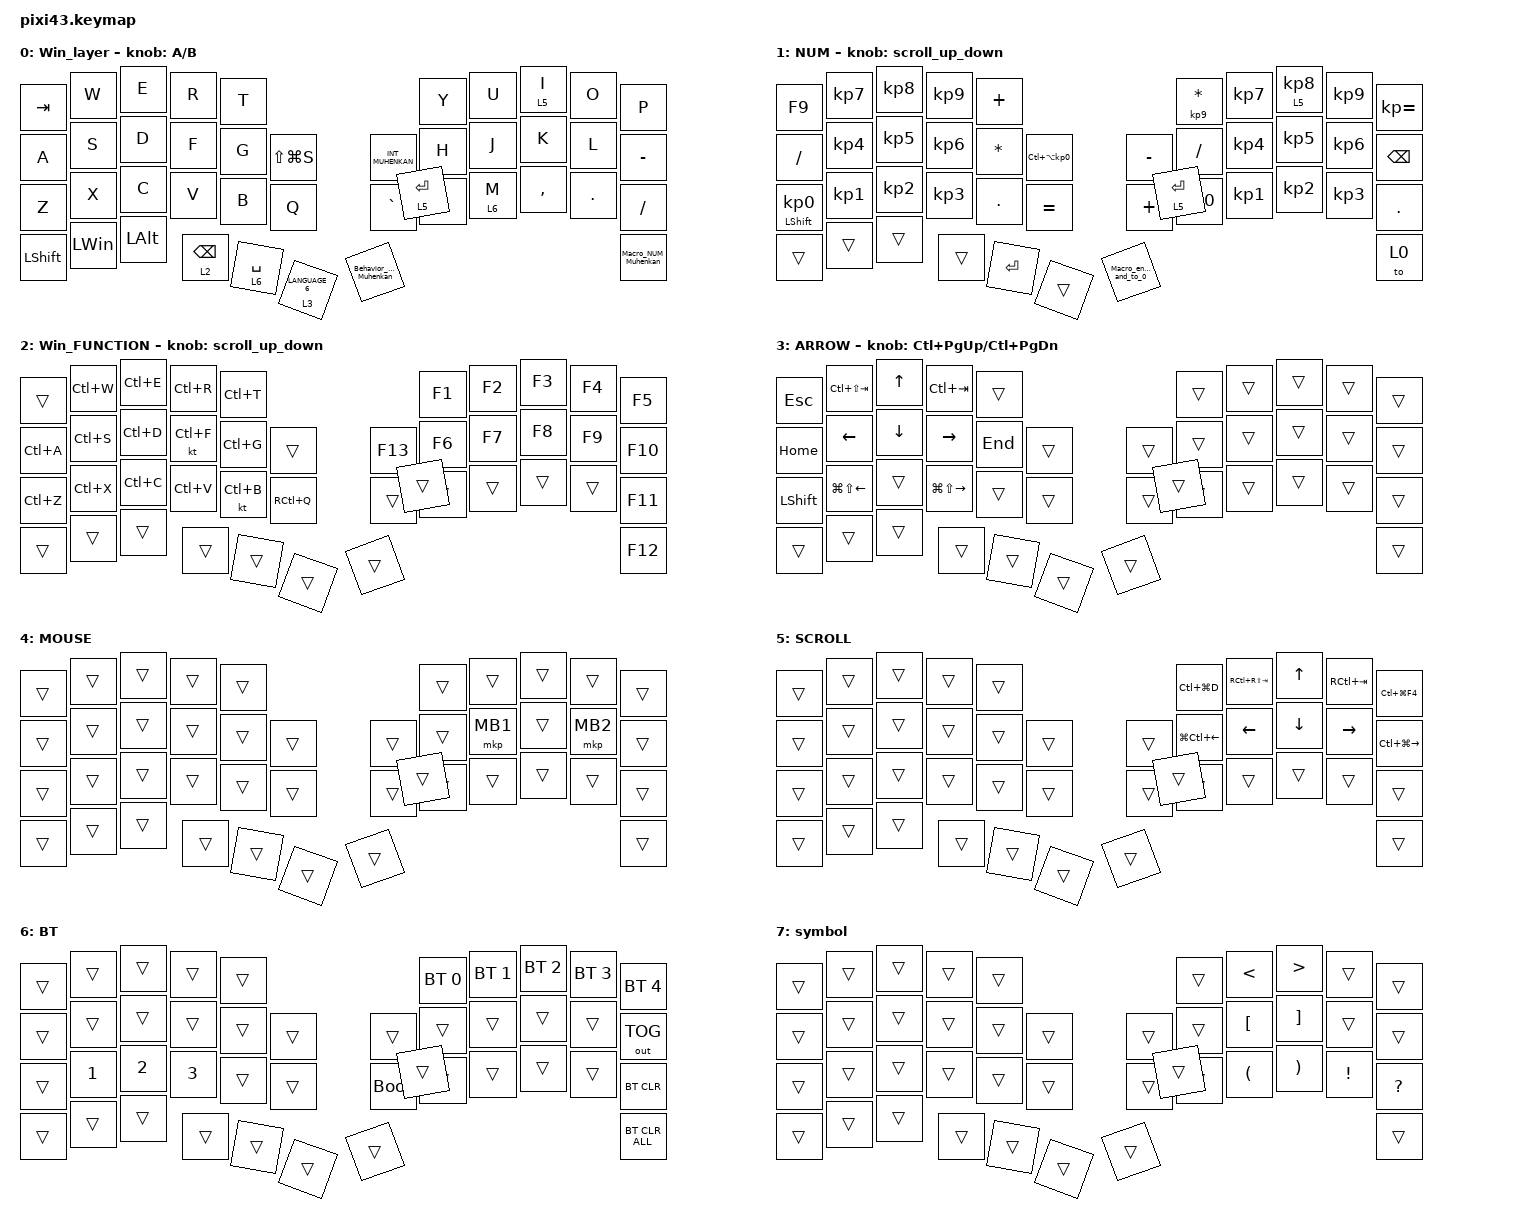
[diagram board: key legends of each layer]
#include <behaviors.dtsi>
#include <dt-bindings/zmk/bt.h>
#include <dt-bindings/zmk/keys.h>
#include <dt-bindings/zmk/outputs.h>
#include <dt-bindings/zmk/pointing.h>

&mt {
    flavor = "balanced";
    quick-tap-ms = <0>;
};

&trackball {
    automouse-layer = <4>;
    scroll-layers = <5>;
};

/ {
    combos {
        compatible = "zmk,combos";

        tab {
            bindings = <&kp TAB>;
            key-positions = <11 12>;
        };

        shift_tab {
            bindings = <&kp LS(TAB)>;
            key-positions = <12 13>;
        };

        muhennkann {
            bindings = <&Macro_to_layer_0>;
            key-positions = <0 1>;
        };

        double_quotation {
            bindings = <&kp DOUBLE_QUOTES>;
            key-positions = <20 21>;
        };

        eq {
            bindings = <&kp EQUAL>;
            key-positions = <8 9>;
        };
    };

    macros {
        Macro_to_layer_0: to_layer_0 {
            compatible = "zmk,behavior-macro";
            #binding-cells = <0>;
            bindings = <&to 0 &kp INT_MUHENKAN>;
            label = "TO_LAYER_0";
        };

        Macro_enter_and_to_0: num_to_enter {
            compatible = "zmk,behavior-macro";
            #binding-cells = <0>;
            bindings = <&kp ENTER &to 0 &kp INTERNATIONAL_4>;
            label = "NUM_TO_ENTER";
        };

        Macro_Win_layer_Henkan: Win_layer_Hiragana {
            compatible = "zmk,behavior-macro";
            #binding-cells = <0>;
            bindings = <&to 0 &kp INT_HENKAN>;
            label = "WIN_LAYER_HIRAGANA";
        };

        Macro_Win_layer_Muhenkan: Macro_Win_layer_Muhenkan {
            compatible = "zmk,behavior-macro";
            #binding-cells = <0>;
            bindings = <&to 0 &kp INT_MUHENKAN>;
            label = "MACRO_WIN_LAYER_MUHENKAN";
        };

        Macro_NUM_Muhenkan: NUM_Muhenkan {
            compatible = "zmk,behavior-macro";
            #binding-cells = <0>;
            bindings = <&to 1 &kp INT_MUHENKAN>;
            label = "NUM_MUHENKAN";
        };
    };

    behaviors {
        Behavior_lt_to_layer_0: lt_to_layer_0 {
            compatible = "zmk,behavior-hold-tap";
            label = "LAYER_TAP_TO_0";
            bindings = <&mo>, <&Macro_to_layer_0>;

            #binding-cells = <2>;
            tapping-term-ms = <200>;
        };

        // 【修正ポイント】tap-msを調整し、スクロールのスタックを防止

        scroll_up_down: mouse_wheel_up_down {
            compatible = "zmk,behavior-sensor-rotate";
            #sensor-binding-cells = <0>;
            bindings = <&msc SCRL_UP>, <&msc SCRL_DOWN>;

            tap-ms = <30>;
        };

        Behavior_Henkan_Muhenkan: Behavior_Henkan_Muhenkan {
            compatible = "zmk,behavior-tap-dance";
            label = "BEHAVIOR_HENKAN_MUHENKAN";
            #binding-cells = <0>;
            bindings =
                <&Macro_Win_layer_Henkan>,
                <&Macro_NUM_Muhenkan>,
                <&Macro_Win_layer_Muhenkan>;

            tapping-term-ms = <300>;
        };
    };

    keymap {
        compatible = "zmk,keymap";

        Win_layer {
            bindings = <
&kp TAB         &kp W         &kp E         &kp R            &kp T                                                                             &kp Y        &kp U    &lt 5 I    &kp O    &kp P
&kp A           &kp S         &kp D         &kp F            &kp G        &kp LS(LG(S))                             &kp INT_MUHENKAN           &kp H        &kp J    &kp K      &kp L    &kp MINUS
&kp Z           &kp X         &kp C         &kp V            &kp B        &kp Q                                     &kp GRAVE                  &kp N        &lt 6 M  &kp COMMA  &kp DOT  &kp SLASH
&kp LEFT_SHIFT  &kp LEFT_WIN  &kp LEFT_ALT  &lt 2 BACKSPACE  &lt 6 SPACE  &Behavior_lt_to_layer_0 3 LANGUAGE_6      &Behavior_Henkan_Muhenkan  &lt 5 ENTER                               &Macro_NUM_Muhenkan
            >;

            sensor-bindings = <&inc_dec_kp A B>;
        };

        NUM {
            bindings = <
&kp F9                      &kp KP_NUMBER_7  &kp KP_NUMBER_8  &kp KP_NUMBER_9  &kp PLUS                                                          &mt KP_NUMBER_9 ASTRK  &kp KP_NUMBER_7  &lt 5 KP_NUMBER_8  &kp KP_NUMBER_9  &kp KP_EQUAL
&kp SLASH                   &kp KP_NUMBER_4  &kp KP_NUMBER_5  &kp KP_NUMBER_6  &kp ASTERISK  &kp LC(LA(KP_NUMBER_0))      &kp MINUS              &kp SLASH              &kp KP_NUMBER_4  &kp KP_NUMBER_5    &kp KP_NUMBER_6  &kp BACKSPACE
&mt LEFT_SHIFT KP_NUMBER_0  &kp KP_NUMBER_1  &kp KP_NUMBER_2  &kp KP_NUMBER_3  &kp PERIOD    &kp EQUAL                    &kp PLUS               &kp KP_NUMBER_0        &kp KP_NUMBER_1  &kp KP_NUMBER_2    &kp KP_NUMBER_3  &kp PERIOD
&trans                      &trans           &trans           &trans           &kp ENTER     &trans                       &Macro_enter_and_to_0  &lt 5 ENTER                                                                 &to 0
            >;

            sensor-bindings = <&scroll_up_down>;
        };

        Win_FUNCTION {
            bindings = <
&trans     &kp LC(W)  &kp LC(E)  &kp LC(R)  &kp LC(T)                          &kp F1  &kp F2  &kp F3  &kp F4  &kp F5
&kp LC(A)  &kp LC(S)  &kp LC(D)  &kt LC(F)  &kp LC(G)  &trans         &kp F13  &kp F6  &kp F7  &kp F8  &kp F9  &kp F10
&kp LC(Z)  &kp LC(X)  &kp LC(C)  &kp LC(V)  &kt LC(B)  &kp RC(Q)      &trans   &trans  &trans  &trans  &trans  &kp F11
&trans     &trans     &trans     &trans     &trans     &trans         &trans   &trans                          &kp F12
            >;

            sensor-bindings = <&scroll_up_down>;
        };

        ARROW {
            bindings = <
&kp ESCAPE      &kp LC(LS(TAB))         &kp UP_ARROW    &kp LC(TAB)              &trans                       &trans  &trans  &trans  &trans  &trans
&kp HOME        &kp LEFT_ARROW          &kp DOWN_ARROW  &kp RIGHT_ARROW          &kp END  &trans      &trans  &trans  &trans  &trans  &trans  &trans
&kp LEFT_SHIFT  &kp LG(LS(LEFT_ARROW))  &trans          &kp LG(LS(RIGHT_ARROW))  &trans   &trans      &trans  &trans  &trans  &trans  &trans  &trans
&trans          &trans                  &trans          &trans                   &trans   &trans      &trans  &trans                          &trans
            >;

            sensor-bindings = <&inc_dec_kp LC(PAGE_UP) LC(PAGE_DOWN)>;
        };

        MOUSE {
            bindings = <
&trans  &trans  &trans  &trans  &trans                      &trans  &trans    &trans  &trans    &trans
&trans  &trans  &trans  &trans  &trans  &trans      &trans  &trans  &mkp MB1  &trans  &mkp MB2  &trans
&trans  &trans  &trans  &trans  &trans  &trans      &trans  &trans  &trans    &trans  &trans    &trans
&trans  &trans  &trans  &trans  &trans  &trans      &trans  &trans                              &trans
            >;
        };

        SCROLL {
            bindings = <
&trans  &trans  &trans  &trans  &trans                      &kp LC(LG(D))           &kp RC(RS(TAB))  &kp UP_ARROW    &kp RC(TAB)      &kp LC(LG(F4))
&trans  &trans  &trans  &trans  &trans  &trans      &trans  &kp LG(LC(LEFT_ARROW))  &kp LEFT_ARROW   &kp DOWN_ARROW  &kp RIGHT_ARROW  &kp LC(LG(RIGHT_ARROW))
&trans  &trans  &trans  &trans  &trans  &trans      &trans  &trans                  &trans           &trans          &trans           &trans
&trans  &trans  &trans  &trans  &trans  &trans      &trans  &trans                                                                    &trans
            >;
        };

        BT {
            bindings = <
&trans  &trans        &trans        &trans        &trans                           &bt BT_SEL 0  &bt BT_SEL 1  &bt BT_SEL 2  &bt BT_SEL 3  &bt BT_SEL 4
&trans  &trans        &trans        &trans        &trans  &trans      &trans       &trans        &trans        &trans        &trans        &out OUT_TOG
&trans  &kp NUMBER_1  &kp NUMBER_2  &kp NUMBER_3  &trans  &trans      &bootloader  &trans        &trans        &trans        &trans        &bt BT_CLR
&trans  &trans        &trans        &trans        &trans  &trans      &trans       &trans                                                  &bt BT_CLR_ALL
            >;
        };

        symbol {
            bindings = <
&trans  &trans  &trans  &trans  &trans                      &trans  &kp LESS_THAN         &kp GREATER_THAN       &trans           &trans
&trans  &trans  &trans  &trans  &trans  &trans      &trans  &trans  &kp LEFT_BRACKET      &kp RIGHT_BRACKET      &trans           &trans
&trans  &trans  &trans  &trans  &trans  &trans      &trans  &trans  &kp LEFT_PARENTHESIS  &kp RIGHT_PARENTHESIS  &kp EXCLAMATION  &kp QUESTION
&trans  &trans  &trans  &trans  &trans  &trans      &trans  &trans                                                                &trans
            >;
        };
    };
};
